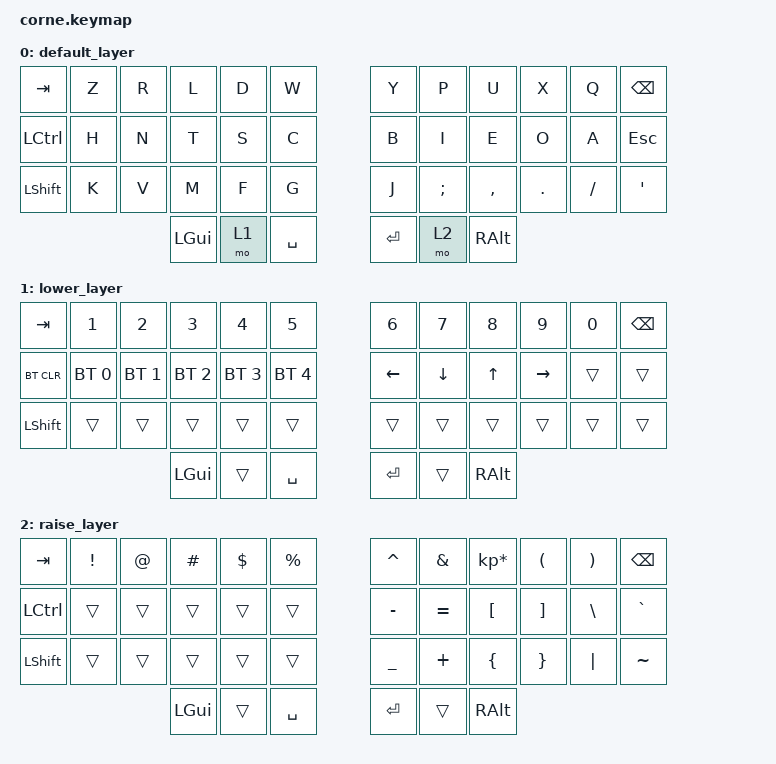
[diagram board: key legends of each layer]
/*
 * Copyright (c) 2020 The ZMK Contributors
 *
 * SPDX-License-Identifier: MIT
 */

#include <behaviors.dtsi>
#include <dt-bindings/zmk/keys.h>
#include <dt-bindings/zmk/bt.h>

/ {
        keymap {
                compatible = "zmk,keymap";

                default_layer {
// -----------------------------------------------------------------------------------------
// |  TAB |  Q  |  W  |  E  |  R  |  T  |   |  Y  |  U   |  I  |  O  |  P  | BKSP |
// | CTRL |  A  |  S  |  D  |  F  |  G  |   |  H  |  J   |  K  |  L  |  ;  |  '   |
// | SHFT |  Z  |  X  |  C  |  V  |  B  |   |  N  |  M   |  ,  |  .  |  /  | ESC  |
//                    | GUI | LWR | SPC |   | ENT | RSE  | ALT |
                        bindings = <
   &kp TAB   &kp Z &kp R &kp L &kp D &kp W      &kp Y &kp P     &kp U     &kp X   &kp Q    &kp BSPC
   &kp LCTRL &kp H &kp N &kp T &kp S &kp C      &kp B &kp I     &kp E     &kp O   &kp A    &kp ESC
   &kp LSHFT &kp K &kp V &kp M &kp F &kp G      &kp J &kp SEMI  &kp COMMA &kp DOT &kp FSLH &kp SQT
                  &kp LGUI &mo 1 &kp SPACE      &kp RET &mo 2 &kp RALT
                        >;
                };
                lower_layer {
// -----------------------------------------------------------------------------------------
// |  TAB |  1  |  2  |  3  |  4  |  5  |   |  6  |  7  |  8  |  9  |  0  | BKSP |
// | BTCLR| BT1 | BT2 | BT3 | BT4 | BT5 |   | LFT | DWN |  UP | RGT |     |      |
// | SHFT |     |     |     |     |     |   |     |     |     |     |     |      |
//                    | GUI |     | SPC |   | ENT |     | ALT |
                        bindings = <
   &kp TAB    &kp N1       &kp N2       &kp N3       &kp N4       &kp N5         &kp N6   &kp N7   &kp N8 &kp N9    &kp N0 &kp BSPC
   &bt BT_CLR &bt BT_SEL 0 &bt BT_SEL 1 &bt BT_SEL 2 &bt BT_SEL 3 &bt BT_SEL 4   &kp LEFT &kp DOWN &kp UP &kp RIGHT &trans &trans
   &kp LSHFT  &trans       &trans       &trans       &trans       &trans         &trans   &trans   &trans &trans    &trans &trans
                          	        &kp LGUI     &trans       &kp SPACE      &kp RET  &trans   &kp RALT
                        >;
                };

                raise_layer {
// -----------------------------------------------------------------------------------------
// |  TAB |  !  |  @  |  #  |  $  |  %  |   |  ^  |  &  |  *  |  (  |  )  | BKSP |
// | CTRL |     |     |     |     |     |   |  -  |  =  |  [  |  ]  |  \  |  `   |
// | SHFT |     |     |     |     |     |   |  _  |  +  |  {  |  }  | "|" |  ~   |
//                    | GUI |     | SPC |   | ENT |     | ALT |
                        bindings = <
   &kp  TAB  &kp EXCL &kp AT &kp HASH &kp DLLR &kp PRCNT   &kp CARET &kp AMPS  &kp KP_MULTIPLY &kp LPAR &kp RPAR &kp BSPC
   &kp LCTRL &trans   &trans &trans   &trans   &trans      &kp MINUS &kp EQUAL &kp LBKT        &kp RBKT &kp BSLH &kp GRAVE
   &kp LSHFT &trans   &trans &trans   &trans   &trans      &kp UNDER &kp PLUS  &kp LBRC        &kp RBRC &kp PIPE &kp TILDE
                    	     &kp LGUI &trans   &kp SPACE   &kp RET   &trans    &kp RALT
                        >;
                };
        };
};
